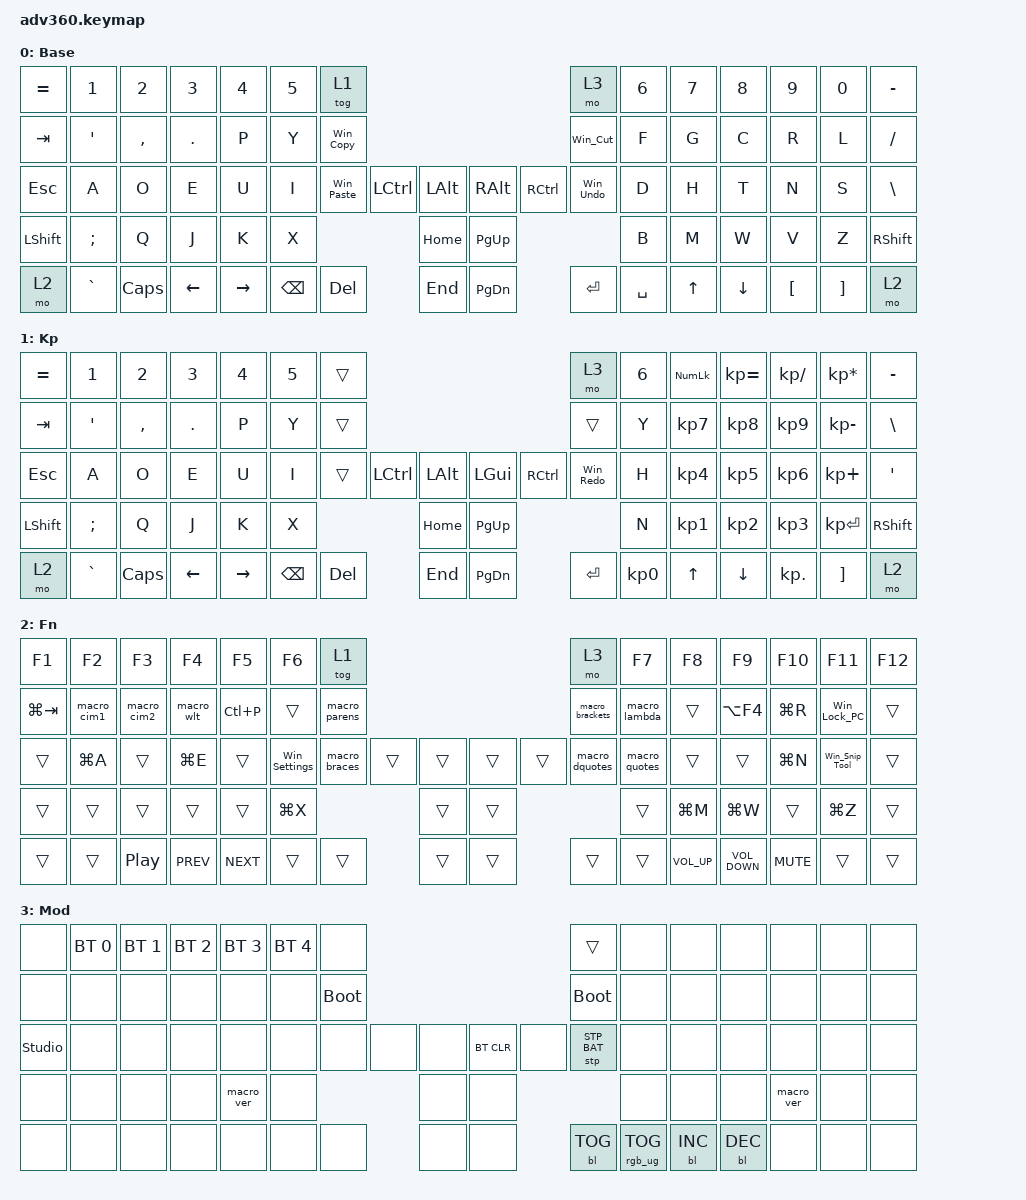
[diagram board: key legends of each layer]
#include <behaviors.dtsi>
#include <dt-bindings/zmk/keys.h>
#include <dt-bindings/zmk/bt.h>
#include <dt-bindings/zmk/rgb.h>
#include <dt-bindings/zmk/stp.h>
#include <dt-bindings/zmk/backlight.h>
#include <dt-bindings/zmk/pointing.h>

/ {
    behaviors {
      #include "macros.dtsi"
      #include "version.dtsi"

      hm: homerow_mods {
          compatible = "zmk,behavior-hold-tap";
          label = "HOMEROW_MODS";
          #binding-cells = <2>;
          tapping-term-ms = <200>;
          quick_tap_ms = <175>;
          flavor = "tap-preferred";
          bindings = <&kp>, <&kp>;
      };
    };

  keymap {
    compatible = "zmk,keymap";

    default_layer {
      display-name = "Base";
      bindings = <
        &kp EQUAL      &kp N1                &kp N2       &kp N3       &kp N4       &kp N5        &tog 1                                                   &mo 3          &kp N6         &kp N7       &kp N8            &kp N9        &kp N0          &kp MINUS
        &kp TAB        &kp SQT               &kp COMMA    &kp DOT      &kp P        &kp Y         &Win_Copy                                                &Win_Cut       &kp F          &kp G        &kp C             &kp R         &kp L           &kp FSLH
        &kp ESC        &kp A                 &kp O        &kp E        &kp U        &kp I         &Win_Paste      &kp LCTRL &kp LALT &kp RALT  &kp RCTRL   &Win_Undo      &kp D          &kp H        &kp T             &kp N         &kp S           &kp BSLH
        &kp LSHFT      &kp SEMI              &kp Q        &kp J        &kp K        &kp X                                   &kp HOME &kp PG_UP                            &kp B          &kp M        &kp W             &kp V         &kp Z           &kp RSHFT
        &mo 2          &kp GRAVE             &kp CAPS     &kp LEFT     &kp RIGHT    &kp BSPC      &kp DEL                   &kp END  &kp PG_DN             &kp ENTER      &kp SPACE      &kp UP       &kp DOWN          &kp LBKT      &kp RBKT        &mo 2
      >;
    };
    keypad {
      display-name = "Kp";
      bindings = <
        &kp EQUAL      &kp N1                &kp N2       &kp N3       &kp N4       &kp N5        &trans                                                   &mo 3          &kp N6         &kp KP_NUM   &kp KP_EQUAL      &kp KP_DIVIDE &kp KP_MULTIPLY &kp MINUS
        &kp TAB        &kp SQT               &kp COMMA    &kp DOT      &kp P        &kp Y         &trans                                                   &trans         &kp Y          &kp KP_N7    &kp KP_N8         &kp KP_N9     &kp KP_MINUS    &kp BSLH
        &kp ESC        &kp A                 &kp O        &kp E        &kp U        &kp I         &trans          &kp LCTRL &kp LALT &kp LGUI  &kp RCTRL   &Win_Redo      &kp H          &kp KP_N4    &kp KP_N5         &kp KP_N6     &kp KP_PLUS     &kp SQT
        &kp LSHFT      &kp SEMI              &kp Q        &kp J        &kp K        &kp X                                   &kp HOME &kp PG_UP                            &kp N          &kp KP_N1    &kp KP_N2         &kp KP_N3     &kp KP_ENTER    &kp RSHFT
        &mo 2          &kp GRAVE             &kp CAPS     &kp LEFT     &kp RIGHT    &kp BSPC      &kp DEL                   &kp END  &kp PG_DN             &kp ENTER      &kp KP_N0      &kp UP       &kp DOWN          &kp KP_DOT    &kp RBKT        &mo 2
      >;
    };
    fn {
      display-name = "Fn";
      bindings = <
        &kp F1         &kp F2                &kp F3       &kp F4       &kp F5       &kp F6        &tog 1                                                   &mo 3           &kp F7        &kp F8       &kp F9            &kp F10       &kp F11         &kp F12
        &kp LG(TAB)    &macro_cim1           &macro_cim2  &macro_wlt   &kp LC(P)    &trans        &macro_parens                                            &macro_brackets &macro_lambda &trans       &kp LA(F4)        &kp LG(R)     &Win_Lock_PC    &trans
        &trans         &kp LG(A)             &trans       &kp LG(E)    &trans       &Win_Settings &macro_braces   &trans    &trans   &trans    &trans      &macro_dquotes  &macro_quotes &trans       &trans            &kp LG(N)     &Win_Snip_Tool  &trans
        &trans         &trans                &trans       &trans       &trans       &kp LG(X)                               &trans   &trans                                &trans        &kp LG(M)    &kp LG(W)         &trans        &kp LG(Z)       &trans
        &trans         &trans                &kp C_PP     &kp C_PREV   &kp C_NEXT   &trans        &trans                    &trans   &trans                &trans          &trans        &kp C_VOL_UP &kp C_VOLUME_DOWN &kp C_MUTE    &trans          &trans
      >;
    };
    mod {
      display-name = "Mod";
      bindings = <
        &none          &bt BT_SEL 0          &bt BT_SEL 1 &bt BT_SEL 2 &bt BT_SEL 3 &bt BT_SEL 4  &none                                                    &trans          &none         &none        &none             &none         &none           &none
        &none          &none                 &none        &none        &none        &none         &bootloader                                              &bootloader     &none         &none        &none             &none         &none           &none
        &studio_unlock &none                 &none        &none        &none        &none         &none           &none     &none    &bt BT_CLR &none      &stp STP_BAT    &none         &none        &none             &none         &none           &none
        &none          &none                 &none        &none        &macro_ver   &none                                   &none    &none                                 &none         &none        &none             &macro_ver    &none           &none
        &none          &none                 &none        &none        &none        &none         &none           &none     &none    &bl BL_TOG            &rgb_ug RGB_TOG               &bl BL_INC   &bl BL_DEC        &none         &none           &none
      >;
    };
    extra1 { 
      display-name = "Red";    
      status = "reserved";
    };

    extra2 { 
      display-name = "Purple";    
      status = "reserved";
    };

    extra3 { 
      display-name = "Cyan";    
      status = "reserved";
    };

    extra4 { 
      display-name = "Yellow";    
      status = "reserved";
    };
  };
};
